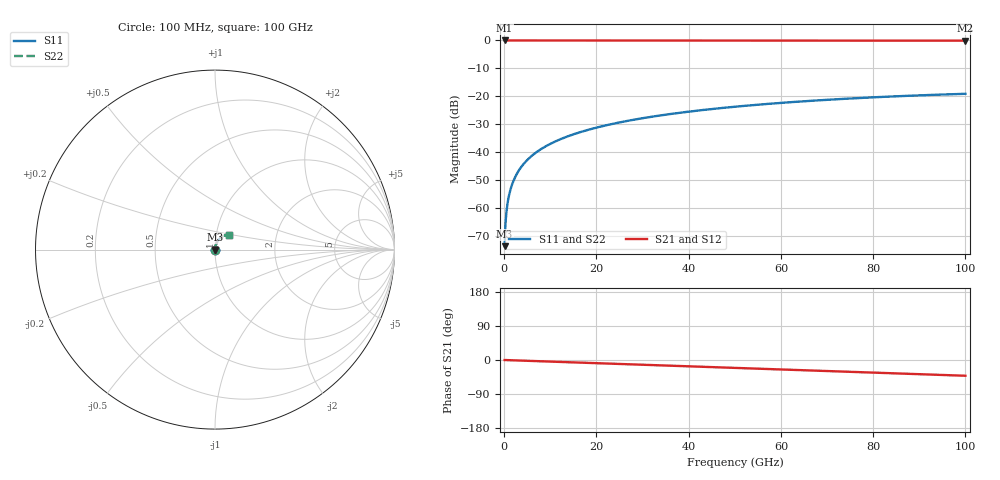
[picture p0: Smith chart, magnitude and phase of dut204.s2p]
! Touchstone file exported from HFSS 2026.1.0
!  File:  C:/ffzhzh/LocalFiles/Ansys_Project_Files/temp_train_TSV_204_1783507524_44152.aedt
!  Generated:  06:46:39 PM Jul  8, 2026
!  Design:  TSV
!  Project:  temp_train_TSV_204_1783507524_44152
! Variables:
!  h_bsmrdl = 2um
!  h_ox = 20um
!  h_rdl = 5um
!  h_sub = 79.1um
!  h_tmrdl = 5um
!  h_tsv = 79.1um
!  h_via = 3um
!  l_bsmrdl = 300um
!  l_sub = 421.56um
!  l_tmrdl = 200um
!  m_sub = 200um
!  pitch = 54.04um
!  r_tsv = 10.78um
!  s_tmrdl = 10um
!  w_bsmrdl = 18um
!  w_sub = 500um
!  w_tmrdl = 12um
!  x_tsv_center1 = 206um
!  x_tsv_center2 = 524um
!  x_tsv_center3 = 736um
!  x_tsv_center4 = 1054um
!  x_tsv_center5 = 1266um
!  x_tsv_center6 = 1584um
# GHz S MA R 50.000000
! Terminal data exported
! Port[1] = TSV1_1_T1
! Port[2] = TSV1_1_T2
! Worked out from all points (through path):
!   1000 points, 100 MHz to 100 GHz, reference 50 ohm
!   highest |S21| = 0.00 dB at 100 MHz (marker M1); lowest = -0.1 dB at 100 GHz (marker M2)
!   group delay of S21, straight-line fit = 1.15 ps
!   lowest |S11| = -73.6 dB at 100 MHz (marker M3), VSWR 1.00, Z = 50 + j0.0179 ohm
!   |S11| at or under -10 dB: start of sweep to end of sweep
!   |S22| runs from -73.6 to -19.1 dB; largest |S21 - S12| = 4.2e-15
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0.1  0.0002099 58.3  0.9999 -0.0  0.9999 -0.0  0.0002099 58.3
! Gamma 0 0 0 0
! Port Impedance 50 0 50 0
0.3  0.0005418 74.9  0.9999 -0.1  0.9999 -0.1  0.0005418 74.9
0.7  0.001171 79.0  0.9998 -0.3  0.9998 -0.3  0.001171 79.0
0.8  0.00132 79.5  0.9998 -0.3  0.9998 -0.3  0.00132 79.5
1  0.001614 80.2  0.9997 -0.4  0.9997 -0.4  0.001614 80.2
1.3  0.002051 81.1  0.9997 -0.6  0.9997 -0.6  0.002051 81.1
1.8  0.002772 82.0  0.9996 -0.8  0.9996 -0.8  0.002772 82.0
2.3  0.003487 82.6  0.9996 -1.0  0.9996 -1.0  0.003487 82.6
3  0.00448 83.0  0.9995 -1.3  0.9995 -1.3  0.00448 83.0
3.8  0.005603 83.2  0.9995 -1.6  0.9995 -1.6  0.005603 83.2
4.8  0.006997 83.3  0.9994 -2.0  0.9994 -2.0  0.006997 83.3
6  0.00866 83.3  0.9993 -2.5  0.9993 -2.5  0.00866 83.3
8.8  0.01251 82.8  0.9991 -3.7  0.9991 -3.7  0.01251 82.8
12.4  0.01742 81.7  0.9989 -5.2  0.9989 -5.2  0.01742 81.7
16.8  0.02335 80.3  0.9986 -7.0  0.9986 -7.0  0.02335 80.3
24.2  0.03318 77.7  0.9981 -10.1  0.9981 -10.1  0.03318 77.7
33.4  0.04507 74.2  0.9975 -13.9  0.9975 -13.9  0.04507 74.2
41.2  0.05479 71.1  0.9968 -17.2  0.9968 -17.2  0.05479 71.1
50.1  0.0654 67.6  0.996 -20.9  0.996 -20.9  0.0654 67.5
66.7  0.08354 60.9  0.9943 -27.8  0.9943 -27.8  0.08354 60.9
83.4  0.0991 54.1  0.9926 -34.7  0.9926 -34.7  0.0991 54.1
100  0.1112 47.4  0.991 -41.6  0.991 -41.6  0.1112 47.4
